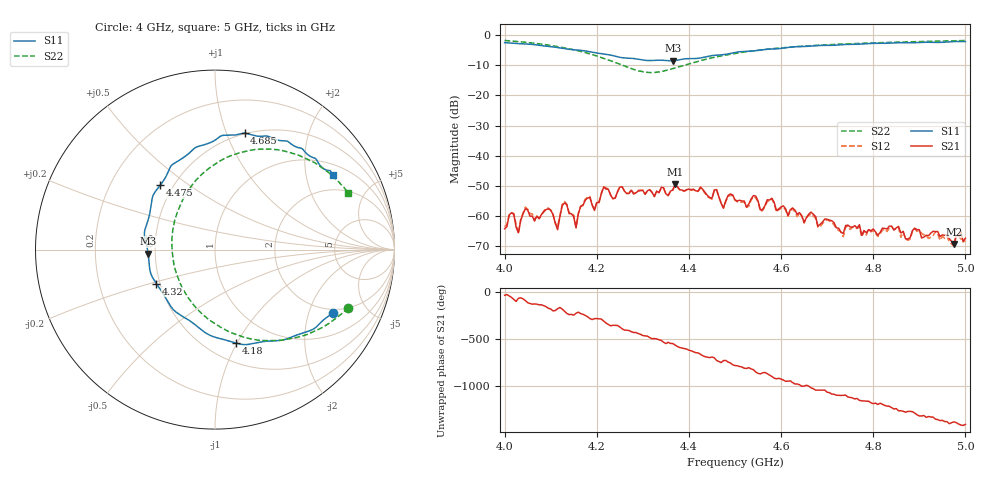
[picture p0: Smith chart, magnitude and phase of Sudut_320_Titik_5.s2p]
# Hz S RI R 50
! CMT, C1220, 16058040, 17.2.0/1
! Date: 15/08/2018 12:23:56
! Data: Format (Calibration Info)
! Freq  S11: Re/Im (F2)  S21: Re/Im (F2)  S12: Re/Im (F2)  S22: Re/Im (F2)
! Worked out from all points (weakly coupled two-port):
!   201 points, 4 GHz to 5 GHz, reference 50 ohm
!   highest |S21| = -49.44 dB at 4.37 GHz (marker M1); lowest = -69.2 dB at 4.975 GHz (marker M2)
!   lowest |S11| = -8.6 dB at 4.365 GHz (marker M3), VSWR 2.19, Z = 22.9 - j1.16 ohm
!   |S11| at or under -10 dB: nowhere
!   |S22| runs from -12.5 to -1.8 dB; largest |S21 - S12| = 0.00017
!   S11 on the Smith chart (normalised r, x): 4 GHz: 1.84, -2.91; 4.18 GHz: 0.68, -1.00; 4.32 GHz: 0.48, -0.21; 4.475 GHz: 0.42, +0.39; 4.685 GHz: 0.49, +1.16; 5 GHz: 1.36, +2.85
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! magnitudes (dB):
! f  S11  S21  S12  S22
! 4 GHz  -2.6  -64.1  -63.4  -1.8
! 4.015 GHz  -2.7  -58.8  -58.8  -2.0
! 4.095 GHz  -3.8  -57.6  -57.3  -3.4
! 4.115 GHz  -4.2  -64.5  -63.5  -3.9
! 4.13 GHz  -4.5  -55.6  -55.1  -4.3
! 4.155 GHz  -5.0  -63.9  -63.5  -5.1
! 4.17 GHz  -5.2  -56.4  -56.1  -5.6
! 4.18 GHz  -5.4  -54.0  -53.8  -6.1
! 4.195 GHz  -5.9  -58.1  -58.0  -6.7
! 4.215 GHz  -6.3  -50.4  -50.2  -7.8
! 4.32 GHz  -8.5  -52.1  -52.1  -12.5
! 4.335 GHz  -8.4  -52.2  -52.1  -12.2
! 4.365 GHz  -8.6  -51.3  -51.4  -11.2
! 4.37 GHz  -8.5  -49.4  -49.6  -11.0
! 4.46 GHz  -6.7  -51.2  -51.2  -7.3
! 4.475 GHz  -6.5  -57.2  -57.3  -6.8
! 4.5 GHz  -5.8  -54.6  -54.7  -6.1
! 4.67 GHz  -3.6  -59.4  -60.0  -3.5
! 4.685 GHz  -3.5  -62.6  -63.5  -3.4
! 4.835 GHz  -2.7  -63.2  -63.9  -2.5
! 4.975 GHz  -2.2  -69.2  -69.9  -1.9
! 5 GHz  -2.2  -67.3  -68.2  -1.9
